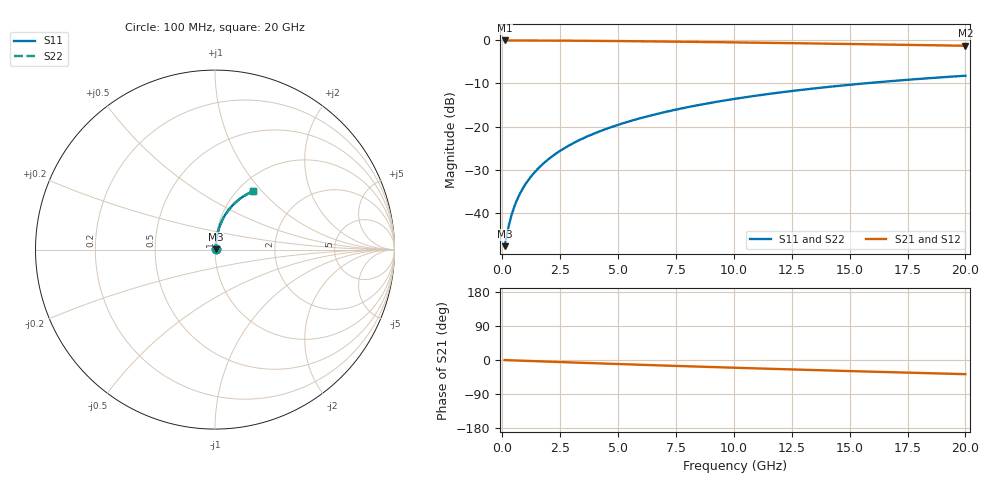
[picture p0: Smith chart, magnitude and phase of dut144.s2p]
! Touchstone file exported from HFSS 2024.1.0
!  File:  C:/UserFiles/LocalFiles/RDL_TSV_Batchsim/temp_RDL_bottom_144_1778697041.aedt
!  Generated:  02:33:17 AM May 14, 2026
!  Design:  RDL_bottom
!  Project:  temp_RDL_bottom_144_1778697041
!  Setup:  Setup1
!  Solution:  Sweep
! Variables:
!  dtsv = 10.80580581um
!  hbump = 3um
!  htsv = 53.62um
!  ldown = 516.69um
!  lrdl = 100um
!  p = 40
!  p1 = 42.94um
!  rhole = 1um
!  t = 450um
!  tdown = 3.57um
!  trdl = 3.915915916um
!  wdown = 15.31um
!  wrdl = 20um
# GHz S MA R 50.000000
! Terminal data exported
! Port[1] = RDL1_T1
! Port[2] = RDL1_T2
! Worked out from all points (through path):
!   200 points, 100 MHz to 20 GHz, reference 50 ohm
!   highest |S21| = -0.03 dB at 100 MHz (marker M1); lowest = -1.3 dB at 20 GHz (marker M2)
!   group delay of S21, straight-line fit = 5.17 ps
!   lowest |S11| = -47.7 dB at 100 MHz (marker M3), VSWR 1.01, Z = 50.3 + j0.224 ohm
!   |S11| at or under -10 dB: start of sweep to 15.6 GHz
!   |S22| runs from -47.7 to -8.2 dB; largest |S21 - S12| = 2e-15
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0.1  0.004127 32.7  0.9965 -0.2  0.9965 -0.2  0.004127 32.7
! Gamma 0 0 0 0
! Port Impedance 50 0 50 0
0.2  0.005683 51.1  0.9964 -0.5  0.9964 -0.5  0.005683 51.1
0.3  0.007536 60.6  0.9963 -0.7  0.9963 -0.7  0.007536 60.6
0.4  0.009481 66.2  0.9961 -0.9  0.9961 -0.9  0.009481 66.2
0.5  0.01146 69.8  0.996 -1.1  0.996 -1.1  0.01146 69.8
0.6  0.01345 72.3  0.9958 -1.3  0.9958 -1.3  0.01345 72.3
0.8  0.01747 75.7  0.9956 -1.8  0.9956 -1.8  0.01747 75.7
1.1  0.02357 78.5  0.9951 -2.4  0.9951 -2.4  0.02357 78.5
1.3  0.02766 79.6  0.9947 -2.8  0.9947 -2.8  0.02766 79.6
1.6  0.03384 80.7  0.9941 -3.5  0.9941 -3.5  0.03384 80.7
2.1  0.0442 81.6  0.9929 -4.6  0.9929 -4.6  0.0442 81.6
2.7  0.0567 81.9  0.9911 -5.8  0.9911 -5.8  0.0567 81.9
3.5  0.07344 81.7  0.988 -7.5  0.988 -7.5  0.07344 81.7
4.2  0.08815 81.2  0.9848 -9.0  0.9848 -9.0  0.08815 81.2
5  0.105 80.3  0.9807 -10.7  0.9807 -10.7  0.105 80.3
5.9  0.124 79.2  0.9755 -12.5  0.9755 -12.5  0.124 79.2
6.8  0.1429 78.0  0.9699 -14.3  0.9699 -14.3  0.1429 78.0
8.4  0.1763 75.6  0.9589 -17.4  0.9589 -17.4  0.1763 75.6
10.1  0.2112 72.9  0.9463 -20.6  0.9463 -20.6  0.2112 72.9
13.4  0.276 67.4  0.9202 -26.5  0.9202 -26.5  0.2759 67.4
16.7  0.3355 62.0  0.8928 -32.1  0.8928 -32.1  0.3355 62.0
20  0.3889 56.8  0.8649 -37.4  0.8649 -37.4  0.3889 56.8
